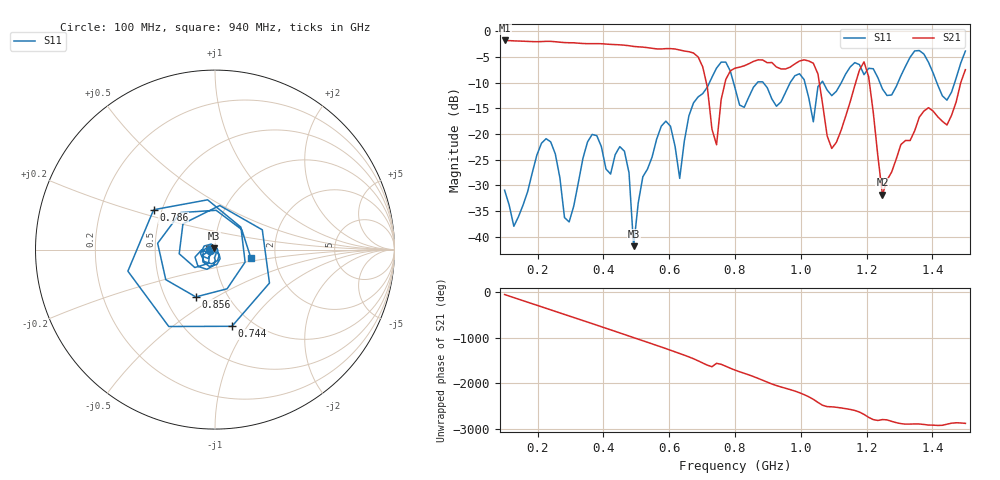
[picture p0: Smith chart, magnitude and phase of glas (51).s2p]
! NanoVNA-App
! Date: 2025-09-25 15:55:52
! Start: 100MHz Stop: 1,5GHz Points: 101
! S-Parameter data: F S11 S21 S12 S22
# Hz S RI R 50
!  Frequency  S11_Real  S11_Imag  S21_Real  S21_Imag  S12_Real  S12_Imag  S22_Real  S22_Imag
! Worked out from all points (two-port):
!   101 points, 100 MHz to 1.5 GHz, reference 50 ohm
!   highest |S21| = -1.80 dB at 100 MHz (marker M1); lowest = -31.8 dB at 1.248 GHz (marker M2)
!   |S21| within 3 dB of the highest: start of sweep to 684.1 MHz
!   lowest |S11| = -41.9 dB at 492 MHz (marker M3), VSWR 1.02, Z = 49.5 + j0.615 ohm
!   |S11| at or under -10 dB: start of sweep to 722.5 MHz; 795.5 MHz to 868.2 MHz (72.65 MHz wide, 8.73 % of centre); 885.7 MHz to 967.8 MHz (82.06 MHz wide, 8.85 % of centre) (the widest 3 of 7)
!   S12 and S22 are empty: the file has one direction only
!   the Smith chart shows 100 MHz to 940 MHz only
!   S11 on the Smith chart (normalised r, x): 100 MHz: 0.95, -0.01; 744 MHz: 0.81, -0.85; 786 MHz: 0.45, +0.24; 856 MHz: 0.71, -0.41; 940 MHz: 1.49, -0.15
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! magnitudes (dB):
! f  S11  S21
! 100 MHz  -31.0  -1.8
! 128 MHz  -38.0  -1.9
! 226 MHz  -20.9  -2.0
! 296 MHz  -37.1  -2.2
! 338 MHz  -24.7  -2.4
! 464 MHz  -23.4  -2.7
! 492 MHz  -41.9  -3.0
! 576 MHz  -18.5  -3.5
! 632 MHz  -28.7  -3.7
! 702 MHz  -12.1  -7.0
! 744 MHz  -7.2  -22.1
! 786 MHz  -7.8  -7.7
! 800 MHz  -11.0  -7.2
! 856 MHz  -10.9  -5.9
! 940 MHz  -13.7  -7.3
! 996 MHz  -8.3  -5.8
! 1.038 GHz  -17.6  -6.2
! 1.094 GHz  -12.5  -22.8
! 1.192 GHz  -8.5  -6.0
! 1.248 GHz  -11.2  -31.8
! 1.276 GHz  -12.4  -27.4
! 1.5 GHz  -3.9  -7.5
